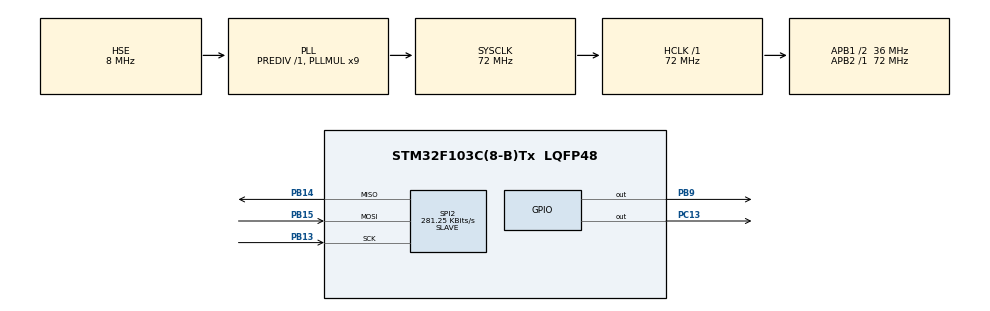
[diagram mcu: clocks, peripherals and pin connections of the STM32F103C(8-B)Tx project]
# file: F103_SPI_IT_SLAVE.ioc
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Mcu.Family=STM32F1
Mcu.Name=STM32F103C(8-B)Tx
Mcu.Package=LQFP48
NVIC.PriorityGroup=NVIC_PRIORITYGROUP_4
NVIC.SPI2_IRQn=true\:0\:0\:false\:false\:true\:true\:true
PA13.Mode=Serial_Wire
PA13.Signal=SYS_JTMS-SWDIO
PA14.Mode=Serial_Wire
PA14.Signal=SYS_JTCK-SWCLK
PB13.Mode=Full_Duplex_Slave
PB13.Signal=SPI2_SCK
PB14.Mode=Full_Duplex_Slave
PB14.Signal=SPI2_MISO
PB15.Mode=Full_Duplex_Slave
PB15.Signal=SPI2_MOSI
PB9.Signal=GPIO_Output
PC13-TAMPER-RTC.Signal=GPIO_Output
PD0-OSC_IN.Mode=HSE-External-Oscillator
PD0-OSC_IN.Signal=RCC_OSC_IN
PD1-OSC_OUT.Mode=HSE-External-Oscillator
PD1-OSC_OUT.Signal=RCC_OSC_OUT
ProjectManager.HeapSize=0x200
ProjectManager.StackSize=0x400
ProjectManager.TargetToolchain=STM32CubeIDE
RCC.ADCPresc=RCC_ADCPCLK2_DIV6
RCC.AHBFreq_Value=72000000
RCC.APB1CLKDivider=RCC_HCLK_DIV2
RCC.APB1Freq_Value=36000000
RCC.APB1TimFreq_Value=72000000
RCC.APB2Freq_Value=72000000
RCC.APB2TimFreq_Value=72000000
RCC.HCLKFreq_Value=72000000
RCC.PLLMUL=RCC_PLL_MUL9
RCC.PLLSourceVirtual=RCC_PLLSOURCE_HSE
RCC.SYSCLKFreq_VALUE=72000000
RCC.SYSCLKSource=RCC_SYSCLKSOURCE_PLLCLK
RCC.USBFreq_Value=72000000
SPI2.BaudRatePrescaler=SPI_BAUDRATEPRESCALER_128
SPI2.CLKPhase=SPI_PHASE_1EDGE
SPI2.CLKPolarity=SPI_POLARITY_HIGH
SPI2.CalculateBaudRate=281.25 KBits/s
SPI2.Direction=SPI_DIRECTION_2LINES
SPI2.Mode=SPI_MODE_SLAVE
SPI2.VirtualType=VM_SLAVE
board=custom

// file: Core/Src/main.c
/* USER CODE BEGIN Header */
/**
  ******************************************************************************
  * @file           : main.c
  * @brief          : Main program body
  ******************************************************************************
  * @attention
  *
  * <h2><center>&copy; Copyright (c) 2020 STMicroelectronics.
  * All rights reserved.</center></h2>
  *
  * This software component is licensed by ST under BSD 3-Clause license,
  * the "License"; You may not use this file except in compliance with the
  * License. You may obtain a copy of the License at:
  *                        opensource.org/licenses/BSD-3-Clause
  *
  ******************************************************************************
  */
/* USER CODE END Header */

#include "main.h"

SPI_HandleTypeDef hspi2;

/* USER CODE BEGIN PV */
uint8_t aTxBuffer[] = "SPI SLAVE DEN CEVAP: SLAVE'DEN MESAJ ALINDI";
/* Buffer used for reception */
uint8_t aRxBuffer[43]={0};

/* USER CODE END PV */

void SystemClock_Config(void);
static void MX_GPIO_Init(void);
static void MX_SPI2_Init(void);

int main(void)
{

  /* MCU Configuration--------------------------------------------------------*/

  /* Reset of all peripherals, Initializes the Flash interface and the Systick. */
  HAL_Init();

  /* Configure the system clock */
  SystemClock_Config();

  /* Initialize all configured peripherals */
  MX_GPIO_Init();
  MX_SPI2_Init();
  /* USER CODE BEGIN 2 */
  for(volatile uint8_t i=0;i<16;i++)
  {
 	  HAL_GPIO_TogglePin(GPIOB, GPIO_PIN_9);
 	  HAL_GPIO_TogglePin(GPIOC, GPIO_PIN_13);
 	  HAL_Delay(100);
  }

  /* CLK sinyalinin düzgün şekilde aşağı çekilmesi için SPI gönderme / alma işlevlerini çağırmadan önce SPI bloğu etkinleştirilir.
        Aksi takdirde, SPI CLK sinyali bu kartta temiz değildir ve aktarım sırasında hatalara neden olur */

  __HAL_SPI_ENABLE(&hspi2);

  HAL_GPIO_WritePin(GPIOC, GPIO_PIN_13,GPIO_PIN_RESET);
  HAL_GPIO_WritePin(GPIOB, GPIO_PIN_9,GPIO_PIN_RESET);

  if(HAL_SPI_TransmitReceive_IT(&hspi2, (uint8_t*)aTxBuffer, (uint8_t *)aRxBuffer, 43) != HAL_OK)
  {
    Error_Handler();
  }

  while (HAL_SPI_GetState(&hspi2) != HAL_SPI_STATE_READY);
  /* USER CODE END 2 */

  /* Infinite loop */
  while (1)
  {

  }
}

void SystemClock_Config(void)
{
  RCC_OscInitTypeDef RCC_OscInitStruct = {0};
  RCC_ClkInitTypeDef RCC_ClkInitStruct = {0};

  /** Initializes the CPU, AHB and APB busses clocks
  */
  RCC_OscInitStruct.OscillatorType = RCC_OSCILLATORTYPE_HSE;
  RCC_OscInitStruct.HSEState = RCC_HSE_ON;
  RCC_OscInitStruct.HSEPredivValue = RCC_HSE_PREDIV_DIV1;
  RCC_OscInitStruct.HSIState = RCC_HSI_ON;
  RCC_OscInitStruct.PLL.PLLState = RCC_PLL_ON;
  RCC_OscInitStruct.PLL.PLLSource = RCC_PLLSOURCE_HSE;
  RCC_OscInitStruct.PLL.PLLMUL = RCC_PLL_MUL9;
  if (HAL_RCC_OscConfig(&RCC_OscInitStruct) != HAL_OK)
  {
    Error_Handler();
  }
  /** Initializes the CPU, AHB and APB busses clocks
  */
  RCC_ClkInitStruct.ClockType = RCC_CLOCKTYPE_HCLK|RCC_CLOCKTYPE_SYSCLK
                              |RCC_CLOCKTYPE_PCLK1|RCC_CLOCKTYPE_PCLK2;
  RCC_ClkInitStruct.SYSCLKSource = RCC_SYSCLKSOURCE_PLLCLK;
  RCC_ClkInitStruct.AHBCLKDivider = RCC_SYSCLK_DIV1;
  RCC_ClkInitStruct.APB1CLKDivider = RCC_HCLK_DIV2;
  RCC_ClkInitStruct.APB2CLKDivider = RCC_HCLK_DIV1;

  if (HAL_RCC_ClockConfig(&RCC_ClkInitStruct, FLASH_LATENCY_2) != HAL_OK)
  {
    Error_Handler();
  }
}

static void MX_SPI2_Init(void)
{

  /* SPI2 parameter configuration*/
  hspi2.Instance = SPI2;
  hspi2.Init.Mode = SPI_MODE_SLAVE;
  hspi2.Init.Direction = SPI_DIRECTION_2LINES;
  hspi2.Init.DataSize = SPI_DATASIZE_8BIT;
  hspi2.Init.CLKPolarity = SPI_POLARITY_HIGH;
  hspi2.Init.CLKPhase = SPI_PHASE_1EDGE;
  hspi2.Init.NSS = SPI_NSS_SOFT;
  hspi2.Init.BaudRatePrescaler = SPI_BAUDRATEPRESCALER_128;
  hspi2.Init.FirstBit = SPI_FIRSTBIT_MSB;
  hspi2.Init.TIMode = SPI_TIMODE_DISABLE;
  hspi2.Init.CRCCalculation = SPI_CRCCALCULATION_DISABLE;
  hspi2.Init.CRCPolynomial = 10;
  if (HAL_SPI_Init(&hspi2) != HAL_OK)
  {
    Error_Handler();
  }

}

static void MX_GPIO_Init(void)
{
  GPIO_InitTypeDef GPIO_InitStruct = {0};

  /* GPIO Ports Clock Enable */
  __HAL_RCC_GPIOC_CLK_ENABLE();
  __HAL_RCC_GPIOD_CLK_ENABLE();
  __HAL_RCC_GPIOB_CLK_ENABLE();
  __HAL_RCC_GPIOA_CLK_ENABLE();

  /*Configure GPIO pin Output Level */
  HAL_GPIO_WritePin(GPIOC, GPIO_PIN_13, GPIO_PIN_RESET);

  /*Configure GPIO pin Output Level */
  HAL_GPIO_WritePin(GPIOB, GPIO_PIN_9, GPIO_PIN_RESET);

  /*Configure GPIO pin : PC13 */
  GPIO_InitStruct.Pin = GPIO_PIN_13;
  GPIO_InitStruct.Mode = GPIO_MODE_OUTPUT_PP;
  GPIO_InitStruct.Pull = GPIO_NOPULL;
  GPIO_InitStruct.Speed = GPIO_SPEED_FREQ_LOW;
  HAL_GPIO_Init(GPIOC, &GPIO_InitStruct);

  /*Configure GPIO pin : PB9 */
  GPIO_InitStruct.Pin = GPIO_PIN_9;
  GPIO_InitStruct.Mode = GPIO_MODE_OUTPUT_PP;
  GPIO_InitStruct.Pull = GPIO_NOPULL;
  GPIO_InitStruct.Speed = GPIO_SPEED_FREQ_LOW;
  HAL_GPIO_Init(GPIOB, &GPIO_InitStruct);

}

/* USER CODE BEGIN 4 */
void HAL_SPI_TxRxCpltCallback(SPI_HandleTypeDef *hspi)
{
	  if(HAL_SPI_TransmitReceive_IT(&hspi2, (uint8_t*)aTxBuffer, (uint8_t *)aRxBuffer, 43) != HAL_OK)
	  {
		Error_Handler();
	  }
	  HAL_GPIO_WritePin(GPIOB, GPIO_PIN_9, GPIO_PIN_SET);
	  HAL_GPIO_WritePin(GPIOC, GPIO_PIN_13, GPIO_PIN_SET);
}
/* USER CODE END 4 */

void Error_Handler(void)
{
}

/************************ (C) COPYRIGHT STMicroelectronics *****END OF FILE****/
